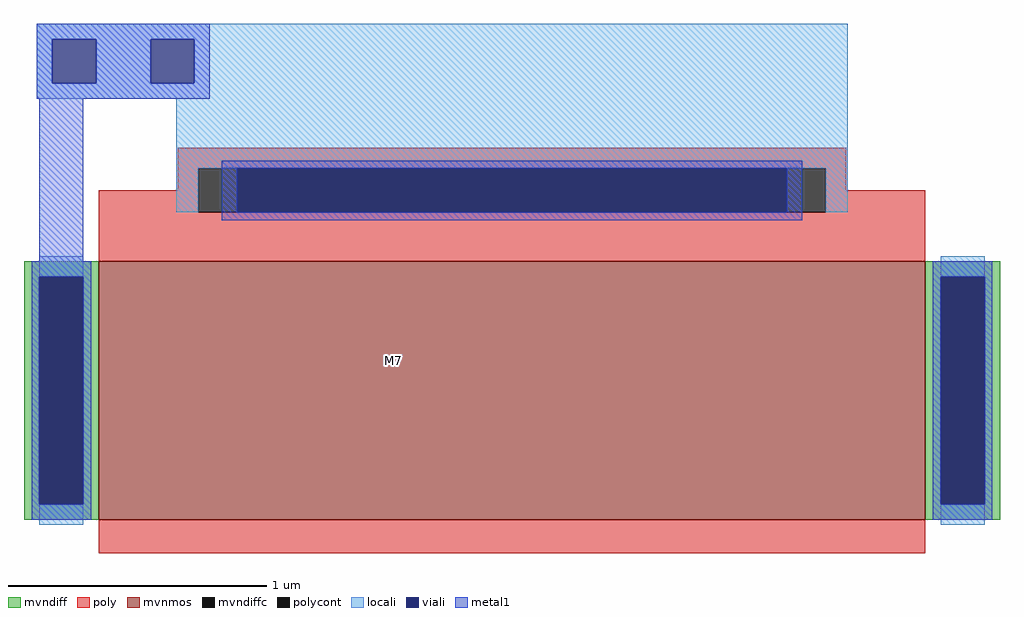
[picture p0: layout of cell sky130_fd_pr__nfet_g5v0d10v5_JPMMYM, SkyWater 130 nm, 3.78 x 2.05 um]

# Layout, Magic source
magic
tech sky130A
magscale 1 2
<< mvnmos >>
rect -320 -131 320 69
<< mvndiff >>
rect -378 57 -320 69
rect -378 -119 -366 57
rect -332 -119 -320 57
rect -378 -131 -320 -119
rect 320 57 378 69
rect 320 -119 332 57
rect 366 -119 378 57
rect 320 -131 378 -119
<< mvndiffc >>
rect -366 -119 -332 57
rect 332 -119 366 57
<< poly >>
rect -259 141 259 157
rect -259 124 -243 141
rect -320 107 -243 124
rect 243 124 259 141
rect 243 107 320 124
rect -320 69 320 107
rect -320 -157 320 -131
<< polycont >>
rect -243 107 243 141
<< locali >>
rect -368 241 260 253
rect -368 207 -356 241
rect -322 207 -280 241
rect -246 207 260 241
rect -368 195 260 207
rect -260 141 260 195
rect -260 107 -243 141
rect 243 107 260 141
rect -366 57 -332 73
rect -366 -135 -332 -119
rect 332 57 366 73
rect 332 -135 366 -119
<< viali >>
rect -356 207 -322 241
rect -280 207 -246 241
rect -213 107 213 141
rect -366 -119 -332 57
rect 332 -119 366 57
<< metal1 >>
rect -368 241 -234 253
rect -368 207 -356 241
rect -322 207 -280 241
rect -246 207 -234 241
rect -368 195 -234 207
rect -366 69 -332 195
rect -225 141 225 147
rect -225 107 -213 141
rect 213 107 225 141
rect -225 101 225 107
rect -372 57 -326 69
rect -372 -119 -366 57
rect -332 -119 -326 57
rect -372 -131 -326 -119
rect 326 57 372 69
rect 326 -119 332 57
rect 366 -119 372 57
rect 326 -131 372 -119
<< labels >>
flabel mvnmos -136 -35 -48 19 0 FreeSans 1600 0 0 0 M7
<< properties >>
string gencell sky130_fd_pr__nfet_g5v0d10v5
string library sky130
string parameters w 1 l 3.2 m 1 nf 1 diffcov 100 polycov 80 guard 0 glc 1 grc 1 gtc 1 gbc 1 tbcov 100 rlcov 100 topc 1 botc 0 poverlap 0 doverlap 1 lmin 0.50 wmin 0.42 class mosfet compatible {sky130_fd_pr__nfet_01v8 sky130_fd_pr__nfet_01v8_lvt  sky130_fd_bs_flash__special_sonosfet_star  sky130_fd_pr__nfet_g5v0d10v5 sky130_fd_pr__nfet_05v0_nvt  sky130_fd_pr__nfet_03v3_nvt} full_metal 0 viasrc 100 viadrn 100 viagate 70 viagb 0 viagr 0 viagl 0 viagt 0
<< end >>
